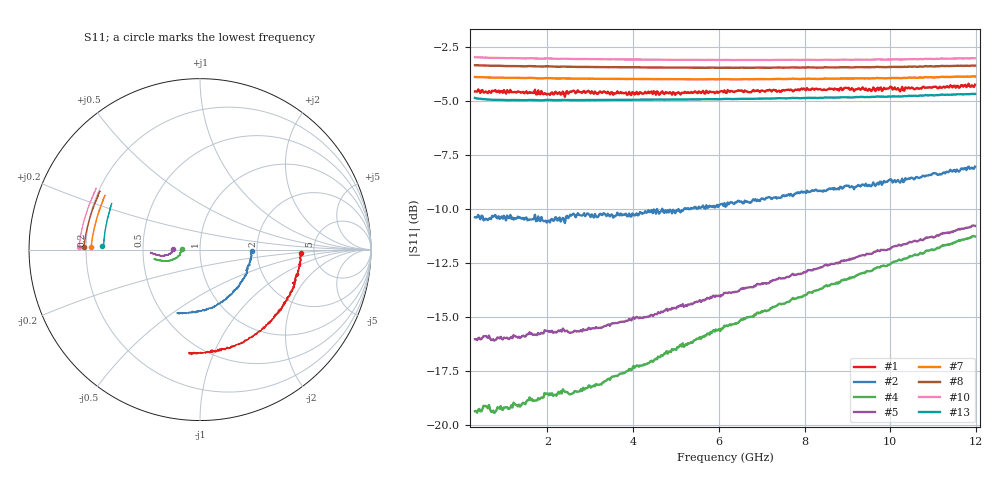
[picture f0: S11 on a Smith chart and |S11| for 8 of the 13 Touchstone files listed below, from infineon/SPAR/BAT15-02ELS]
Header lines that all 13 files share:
! Infineon Technologies  Discrete & RF Semiconductors
! BAT15-02ELS
! One-Port S-Parameters
# Hz  S  MA  R  50
!f  S11
!Hz  Mag  Ang
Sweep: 309.9 MHz to 11.98 GHz
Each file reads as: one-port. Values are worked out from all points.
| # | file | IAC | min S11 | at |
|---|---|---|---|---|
| 1 | BAT15-02ELS_IAC_0.2mA.s1p | 0.2 mA | -4.8 dB | 2.409 GHz |
| 2 | BAT15-02ELS_IAC_0.4mA.s1p | 0.4 mA | -10.6 dB | 2.409 GHz |
| 3 | BAT15-02ELS_IAC_0.6mA.s1p | 0.6 mA | -20.6 dB | 509.8 MHz |
| 4 | BAT15-02ELS_IAC_0.9mA.s1p | 0.9 mA | -19.4 dB | 759.6 MHz |
| 5 | BAT15-02ELS_IAC_1mA.s1p | 1 mA | -16.1 dB | 759.6 MHz |
| 6 | BAT15-02ELS_IAC_4mA.s1p | 4 mA | -4.5 dB | 4.808 GHz |
| 7 | BAT15-02ELS_IAC_5mA.s1p | 5 mA | -4.0 dB | 6.307 GHz |
| 8 | BAT15-02ELS_IAC_7mA.s1p | 7 mA | -3.5 dB | 6.307 GHz |
| 9 | BAT15-02ELS_IAC_9mA.s1p | 9 mA | -3.2 dB | 6.307 GHz |
| 10 | BAT15-02ELS_IAC_10mA.s1p | 10 mA | -3.1 dB | 6.307 GHz |
| 11 | BAT15-02ELS_IAC_50mA.s1p | 50 mA | -3.2 dB | 7.181 GHz |
| 12 | BAT15-02ELS_IAC_70mA.s1p | 70 mA | -4.0 dB | 6.307 GHz |
| 13 | BAT15-02ELS_IAC_90mA.s1p | 90 mA | -5.0 dB | 1.884 GHz |
